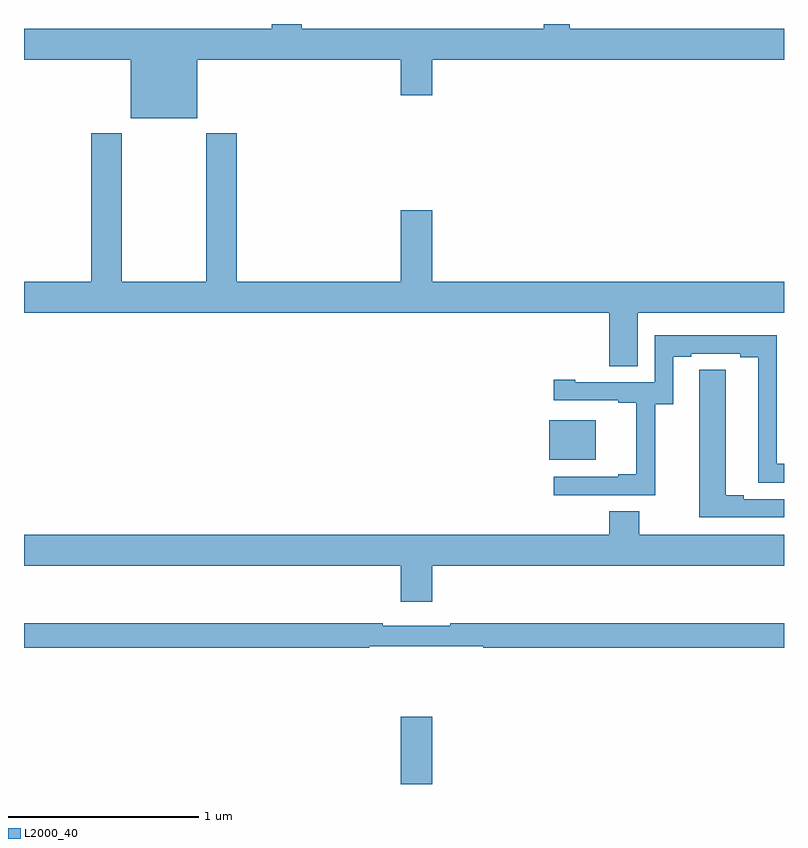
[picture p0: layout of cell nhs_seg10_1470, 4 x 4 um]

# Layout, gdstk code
import gdstk
lib = gdstk.Library(unit=1e-6, precision=1e-09)
def R(c, l, rs):  # rectangles x0, y0, x1, y1
    for r in rs: c.add(gdstk.rectangle(r[:2], r[2:], *l))
def P(c, l, *ps):  # polygons
    for p in ps: c.add(gdstk.Polygon(p, *l))
L2000_40 = (2000, 40)

nhs_seg10_1470 = lib.new_cell('nhs_seg10_1470')
R(nhs_seg10_1470, L2000_40, [(188.984,1300.5,189.148,1300.855), (189.764,1302.206,190.009,1302.415)])
P(nhs_seg10_1470, L2000_40, [(187.912,1304.312),(188.984,1304.312),(188.984,1304.124),(189.148,1304.124),(189.148,1304.312),(191,1304.312),(191,1304.476),(189.873,1304.476),(189.873,1304.5),(189.735,1304.5),(189.735,1304.476),(188.463,1304.476),(188.463,1304.5),(188.303,1304.5),(188.303,1304.476),(187,1304.476),(187,1304.312),(187.562,1304.312),(187.562,1304.003),(187.912,1304.003)],
  [(190.231,1302.98),(191,1302.98),(191,1303.144),(189.148,1303.144),(189.148,1303.519),(188.984,1303.519),(188.984,1303.144),(188.12,1303.144),(188.12,1303.924),(187.96,1303.924),(187.96,1303.144),(187.515,1303.144),(187.515,1303.924),(187.355,1303.924),(187.355,1303.144),(187,1303.144),(187,1302.98),(190.079,1302.98),(190.079,1302.7),(190.231,1302.7)],
  [(190.323,1302.499),(190.417,1302.499),(190.417,1302.75),(190.513,1302.75),(190.513,1302.765),(190.769,1302.765),(190.769,1302.745),(190.865,1302.745),(190.865,1302.085),(191,1302.085),(191,1302.186),(190.962,1302.186),(190.962,1302.861),(190.32,1302.861),(190.32,1302.615),(189.901,1302.615),(189.901,1302.628),(189.789,1302.628),(189.789,1302.519),(190.127,1302.519),(190.127,1302.507),(190.223,1302.507),(190.223,1302.13),(190.127,1302.13),(190.127,1302.117),(189.789,1302.117),(189.789,1302.021),(190.323,1302.021)],
  [(191,1302),(190.789,1302),(190.789,1302.02),(190.693,1302.02),(190.693,1302.68),(190.554,1302.68),(190.554,1302.572),(190.553,1302.572),(190.553,1301.904),(191,1301.904)],
  [(189.148,1301.648),(191,1301.648),(191,1301.812),(190.239,1301.812),(190.239,1301.936),(190.079,1301.936),(190.079,1301.812),(187,1301.812),(187,1301.648),(188.984,1301.648),(188.984,1301.46),(189.148,1301.46)],
  [(188.816,1301.226),(189.416,1301.226),(189.416,1301.218),(191,1301.218),(191,1301.347),(189.244,1301.347),(189.244,1301.334),(188.888,1301.334),(188.888,1301.347),(187,1301.347),(187,1301.218),(188.816,1301.218)])

lib.write_gds('nhs_seg10_1470.gds')
